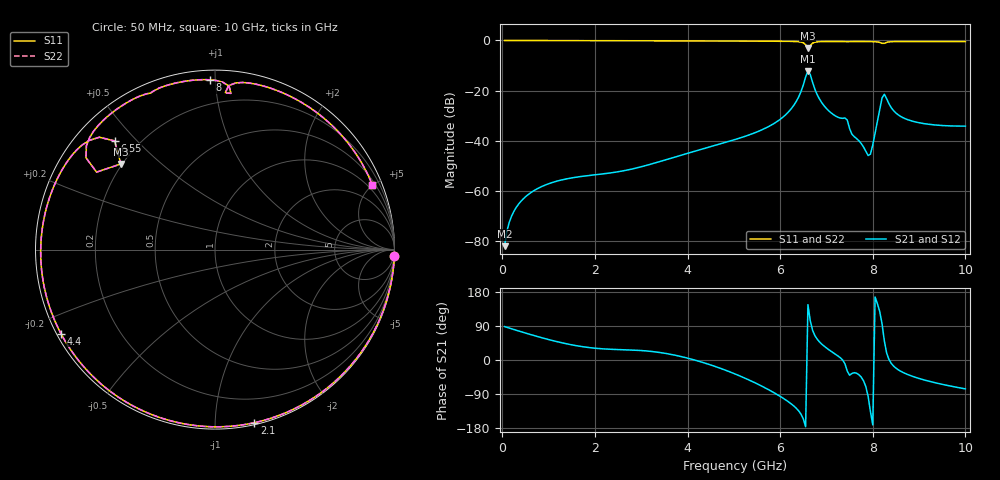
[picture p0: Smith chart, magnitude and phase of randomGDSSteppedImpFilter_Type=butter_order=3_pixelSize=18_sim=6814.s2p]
! freq	dB(S11)	phase(S11)	dB(S12)	phase(S12)
!  dB(S21)	phase(S21)	dB(S22)	phase(S22)
!S-par simulation data
#  GHz  S  DB  R 50
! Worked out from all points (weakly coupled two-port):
!   200 points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, 50 MHz to 10 GHz, reference 50 ohm
!   highest |S21| = -12.22 dB at 6.6 GHz (marker M1); lowest = -82.2 dB at 50 MHz (marker M2)
!   lowest |S11| = -3.0 dB at 6.6 GHz (marker M3), VSWR 5.88, Z = 9.74 + j18.7 ohm
!   |S11| at or under -10 dB: nowhere
!   |S22| runs from -3.0 to 0.0 dB; largest |S21 - S12| = 0
!   S11 on the Smith chart (normalised r, x): 50 MHz: 0, -59; 2.1 GHz: 0.01, -1.25; 4.4 GHz: 0.01, -0.25; 6.55 GHz: 0.11, +0.43; 8 GHz: 0.05, +0.97; 10 GHz: 0.70, +4.98
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0.05  -0.00 -1.9  -82.20 88.2  -82.20 88.2  -0.00 -1.9
0.25  -0.01 -9.6  -68.29 80.4  -68.29 80.4  -0.01 -9.6
0.55  -0.03 -20.9  -61.71 69.3  -61.71 69.3  -0.03 -20.9
1.75  -0.08 -65.0  -54.24 34.8  -54.24 34.8  -0.08 -65.0
2.1  -0.10 -77.2  -53.48 30.1  -53.48 30.1  -0.10 -77.2
3.4  -0.15 -120.2  -48.40 19.8  -48.40 19.8  -0.15 -120.2
4.4  -0.20 -151.4  -42.97 -9.1  -42.97 -9.1  -0.20 -151.4
5.05  -0.24 -171.6  -39.46 -38.0  -39.46 -38.0  -0.24 -171.6
6.1  -0.33 154.2  -30.00 -103.7  -30.00 -103.7  -0.33 154.2
6.35  -0.45 144.3  -24.30 -127.6  -24.30 -127.6  -0.45 144.3
6.55  -1.68 132.7  -14.61 -176.2  -14.61 -176.2  -1.68 132.7
6.6  -2.99 137.7  -12.22 146.0  -12.22 146.0  -2.99 137.7
6.7  -1.08 144.5  -16.74 78.5  -16.74 78.5  -1.08 144.6
6.95  -0.43 131.1  -26.14 36.5  -26.14 36.5  -0.43 131.1
7.45  -0.51 112.4  -31.84 -29.6  -31.84 -29.6  -0.50 112.4
7.55  -0.43 109.0  -37.46 -35.5  -37.46 -35.5  -0.42 109.0
7.9  -0.44 95.7  -45.98 -96.4  -45.98 -96.4  -0.44 95.7
8  -0.48 91.7  -41.73 -171.2  -41.73 -171.2  -0.48 91.7
8.2  -1.15 84.2  -22.96 95.7  -22.96 95.7  -1.16 84.2
8.35  -0.58 82.9  -25.32 1.2  -25.32 1.2  -0.58 82.9
8.85  -0.43 63.1  -32.23 -42.8  -32.23 -42.8  -0.43 63.1
10  -0.46 22.3  -34.23 -76.2  -34.23 -76.2  -0.46 22.3
